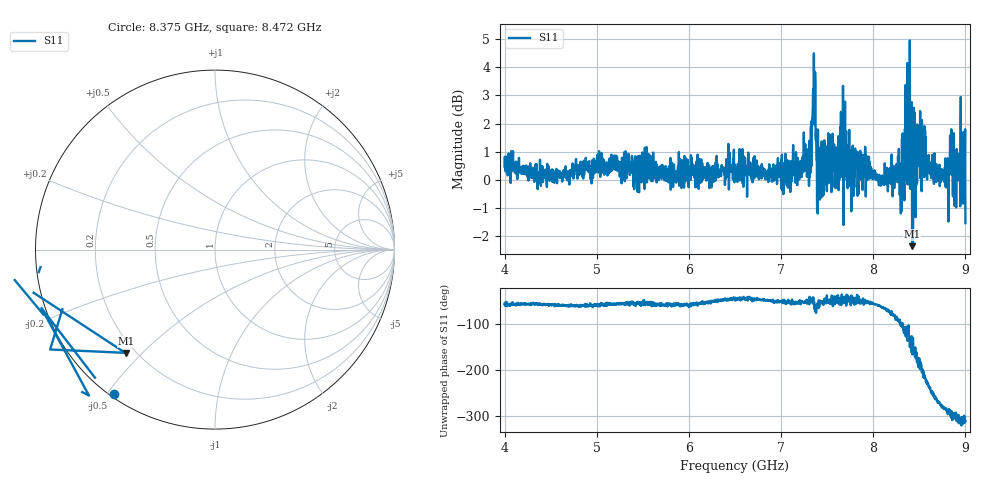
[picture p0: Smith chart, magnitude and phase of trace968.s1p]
! Created with skrf 1.8.0 (http://scikit-rf.org).
# Hz S RI R 50.0
!freq ReS11 ImS11
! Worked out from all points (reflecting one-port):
!   1601 points, 4 GHz to 9 GHz, reference 50 ohm
!   lowest |S11| = -2.4 dB at 8.422 GHz (marker M1), VSWR 7.38, Z = 8.18 - j22.5 ohm
!   phase of S11 starts at -57 deg and turns -254 deg over the sweep
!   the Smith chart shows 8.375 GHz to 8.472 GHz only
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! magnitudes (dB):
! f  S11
! 4 GHz  0.5
! 4.625 GHz  -0.1
! 5.25 GHz  0.1
! 5.875 GHz  0.3
! 6.5 GHz  0.2
! 7.125 GHz  0.3
! 7.294 GHz  1.1
! 7.356 GHz  4.5
! 7.4 GHz  1.8
! 7.412 GHz  0.8
! 7.512 GHz  1.7
! 7.609 GHz  -0.1
! 7.669 GHz  1.1
! 7.75 GHz  0.7
! 7.769 GHz  -0.4
! 8.312 GHz  1.5
! 8.375 GHz  -0.2
! 8.412 GHz  0.2
! 8.422 GHz  -2.4
! 8.447 GHz  2.4
! 8.466 GHz  -0.2
! 8.531 GHz  1.6
! 8.606 GHz  0.6
! 8.794 GHz  -0.3
! 8.85 GHz  0.4
! 8.903 GHz  0.6
! 8.972 GHz  0.5
! 9 GHz  -1.5
